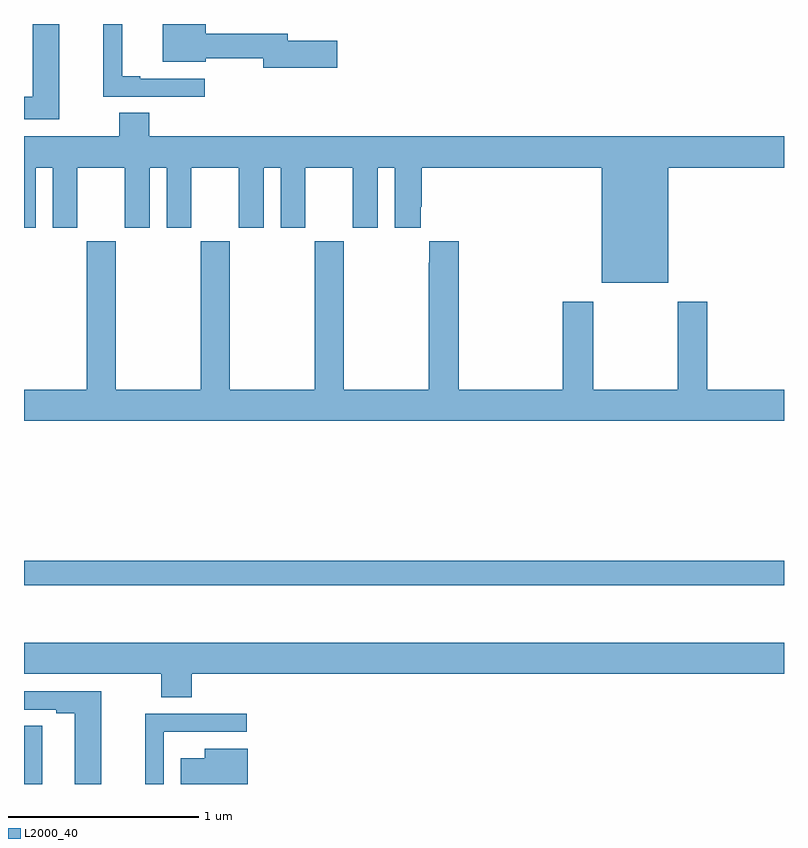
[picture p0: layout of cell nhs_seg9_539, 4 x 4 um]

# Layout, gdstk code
import gdstk
lib = gdstk.Library(unit=1e-6, precision=1e-09)
def R(c, l, rs):  # rectangles x0, y0, x1, y1
    for r in rs: c.add(gdstk.rectangle(r[:2], r[2:], *l))
def P(c, l, *ps):  # polygons
    for p in ps: c.add(gdstk.Polygon(p, *l))
L2000_40 = (2000, 40)

nhs_seg9_539 = lib.new_cell('nhs_seg9_539')
R(nhs_seg9_539, L2000_40, [(137,1202.5,137.095,1202.807), (137,1203.546,141,1203.674)])
P(nhs_seg9_539, L2000_40, [(137.95,1206.213),(137.611,1206.213),(137.611,1206.226),(137.516,1206.226),(137.516,1206.5),(137.416,1206.5),(137.416,1206.117),(137.95,1206.117)],
  [(138.649,1206.413),(138.388,1206.413),(138.388,1206.449),(137.956,1206.449),(137.956,1206.5),(137.729,1206.5),(137.729,1206.302),(137.956,1206.302),(137.956,1206.321),(138.26,1206.321),(138.26,1206.271),(138.649,1206.271)],
  [(137.185,1206.5),(137.045,1206.5),(137.045,1206.116),(137,1206.116),(137,1206),(137.185,1206)],
  [(137.66,1206.032),(137.5,1206.032),(137.5,1205.908),(137,1205.908),(137,1205.427),(137.062,1205.427),(137.062,1205.744),(137.15,1205.744),(137.15,1205.427),(137.281,1205.427),(137.281,1205.744),(137.531,1205.744),(137.531,1205.427),(137.662,1205.427),(137.662,1205.744),(137.75,1205.744),(137.75,1205.427),(137.881,1205.427),(137.881,1205.744),(138.131,1205.744),(138.131,1205.427),(138.262,1205.427),(138.262,1205.744),(138.35,1205.744),(138.35,1205.427),(138.481,1205.427),(138.481,1205.744),(138.731,1205.744),(138.731,1205.427),(138.862,1205.427),(138.862,1205.744),(138.95,1205.744),(138.95,1205.427),(139.087,1205.427),(139.087,1205.539),(139.094,1205.539),(139.094,1205.744),(140.042,1205.744),(140.042,1205.138),(140.392,1205.138),(140.392,1205.744),(141,1205.744),(141,1205.908),(137.66,1205.908)],
  [(141,1204.576),(140.595,1204.576),(140.595,1205.038),(140.44,1205.038),(140.44,1204.576),(139.995,1204.576),(139.995,1205.038),(139.835,1205.038),(139.835,1204.576),(139.289,1204.576),(139.289,1205.356),(139.133,1205.356),(139.133,1205.243),(139.129,1205.243),(139.129,1204.576),(138.684,1204.576),(138.684,1205.356),(138.529,1205.356),(138.529,1204.576),(138.084,1204.576),(138.084,1205.356),(137.929,1205.356),(137.929,1204.576),(137.484,1204.576),(137.484,1205.356),(137.329,1205.356),(137.329,1204.576),(137,1204.576),(137,1204.412),(141,1204.412)],
  [(137.882,1203.08),(141,1203.08),(141,1203.244),(137,1203.244),(137,1203.08),(137.722,1203.08),(137.722,1202.956),(137.882,1202.956)],
  [(137.407,1202.988),(137,1202.988),(137,1202.892),(137.171,1202.892),(137.171,1202.872),(137.267,1202.872),(137.267,1202.5),(137.407,1202.5)],
  [(137.736,1202.774),(137.738,1202.774),(137.738,1202.775),(138.172,1202.775),(138.172,1202.871),(137.638,1202.871),(137.638,1202.5),(137.736,1202.5)],
  [(138.178,1202.686),(137.951,1202.686),(137.951,1202.635),(137.826,1202.635),(137.826,1202.5),(138.178,1202.5)])

lib.write_gds('nhs_seg9_539.gds')
